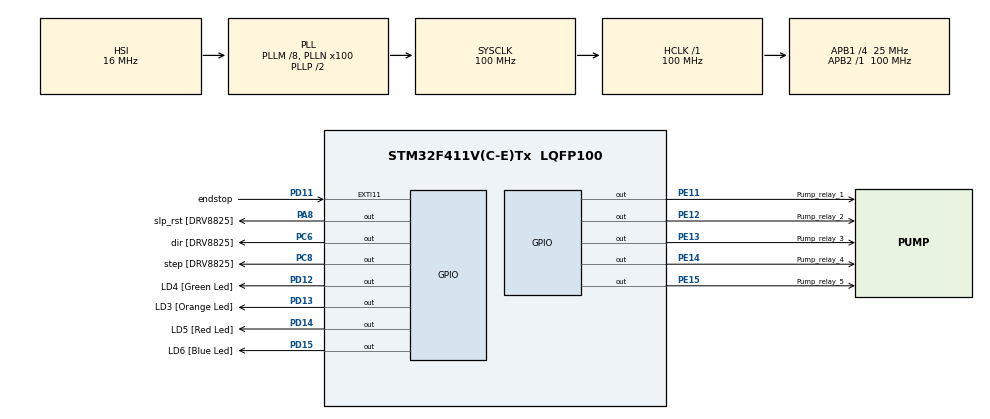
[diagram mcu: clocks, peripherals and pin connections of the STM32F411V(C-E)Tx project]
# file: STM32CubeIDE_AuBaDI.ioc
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Mcu.Family=STM32F4
Mcu.Name=STM32F411V(C-E)Tx
Mcu.Package=LQFP100
Mcu.UserConstants=TIM4_PRESCALER,999;TIM4_PERIOD,99
NVIC.EXTI15_10_IRQn=true\:0\:0\:false\:false\:true\:true\:true
NVIC.PriorityGroup=NVIC_PRIORITYGROUP_0
NVIC.TIM4_IRQn=true\:0\:0\:false\:false\:true\:true\:true
PA8.GPIO_Label=slp_rst [DRV8825]
PA8.Signal=GPIO_Output
PC14-OSC32_IN.GPIO_Label=PC14-OSC32_IN
PC14-OSC32_IN.Mode=LSE-External-Oscillator
PC14-OSC32_IN.Signal=RCC_OSC32_IN
PC15-OSC32_OUT.GPIO_Label=PC15-OSC32_OUT
PC15-OSC32_OUT.Mode=LSE-External-Oscillator
PC15-OSC32_OUT.Signal=RCC_OSC32_OUT
PC6.GPIO_Label=dir [DRV8825]
PC6.Signal=GPIO_Output
PC8.GPIO_Label=step [DRV8825]
PC8.Signal=GPIO_Output
PD11.GPIO_Label=endstop
PD11.GPIO_ModeDefaultEXTI=GPIO_MODE_IT_RISING
PD11.GPIO_PuPd=GPIO_PULLDOWN
PD11.Signal=GPXTI11
PD12.GPIO_Label=LD4 [Green Led]
PD12.GPIO_PuPd=GPIO_NOPULL
PD12.GPIO_Speed=GPIO_SPEED_FREQ_LOW
PD12.Signal=GPIO_Output
PD13.GPIO_Label=LD3 [Orange Led]
PD13.GPIO_PuPd=GPIO_NOPULL
PD13.GPIO_Speed=GPIO_SPEED_FREQ_LOW
PD13.Signal=GPIO_Output
PD14.GPIO_Label=LD5 [Red Led]
PD14.GPIO_PuPd=GPIO_NOPULL
PD14.GPIO_Speed=GPIO_SPEED_FREQ_LOW
PD14.Signal=GPIO_Output
PD15.GPIO_Label=LD6 [Blue Led]
PD15.GPIO_PuPd=GPIO_NOPULL
PD15.GPIO_Speed=GPIO_SPEED_FREQ_LOW
PD15.Signal=GPIO_Output
PE11.GPIO_Label=Pump_relay_1
PE11.Signal=GPIO_Output
PE12.GPIO_Label=Pump_relay_2
PE12.Signal=GPIO_Output
PE13.GPIO_Label=Pump_relay_3
PE13.Signal=GPIO_Output
PE14.GPIO_Label=Pump_relay_4
PE14.Signal=GPIO_Output
PE15.GPIO_Label=Pump_relay_5
PE15.Signal=GPIO_Output
PH0\ -\ OSC_IN.GPIO_Label=PH0-OSC_IN
PH0\ -\ OSC_IN.Mode=HSE-External-Clock-Source
PH0\ -\ OSC_IN.Signal=RCC_OSC_IN
PH1\ -\ OSC_OUT.GPIO_Label=PH1-OSC_OUT
PH1\ -\ OSC_OUT.Mode=HSE-External-Clock-Source
PH1\ -\ OSC_OUT.Signal=RCC_OSC_OUT
ProjectManager.HeapSize=0x200
ProjectManager.StackSize=0x400
ProjectManager.TargetToolchain=STM32CubeIDE
RCC.48MHZClocksFreq_Value=50000000
RCC.AHBFreq_Value=100000000
RCC.APB1CLKDivider=RCC_HCLK_DIV4
RCC.APB1Freq_Value=25000000
RCC.APB1TimFreq_Value=50000000
RCC.APB2Freq_Value=100000000
RCC.APB2TimFreq_Value=100000000
RCC.CortexFreq_Value=100000000
RCC.HCLKFreq_Value=100000000
RCC.HSE_VALUE=8000000
RCC.HSI_VALUE=16000000
RCC.PLLI2SM=5
RCC.PLLI2SN=200
RCC.PLLM=8
RCC.PLLN=100
RCC.SYSCLKFreq_VALUE=100000000
RCC.SYSCLKSource=RCC_SYSCLKSOURCE_PLLCLK
RCC.VCOOutputFreq_Value=200000000
TIM4.Period=TIM4_PERIOD
TIM4.Prescaler=TIM4_PRESCALER
VP_TIM4_VS_ClockSourceINT.Mode=Internal
board=STM32F411E-DISCO

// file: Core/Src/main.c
/* USER CODE BEGIN Header */
/**
 ******************************************************************************
 * @file           : main.c
 * @brief          : Main program body
 ******************************************************************************
 * @attention
 *
 * <h2><center>&copy; Copyright (c) 2020 STMicroelectronics.
 * All rights reserved.</center></h2>
 *
 * This software component is licensed by ST under Ultimate Liberty license
 * SLA0044, the "License"; You may not use this file except in compliance with
 * the License. You may obtain a copy of the License at:
 *                             www.st.com/SLA0044
 *
 ******************************************************************************
 */
/* USER CODE END Header */

#include "main.h"

/* USER CODE BEGIN Includes */
#include<stdio.h>
#include<stdlib.h>
/* USER CODE END Includes */

/* USER CODE BEGIN PD */
#define STEPS 1970
/* USER CODE END PD */

TIM_HandleTypeDef htim4;

/* USER CODE BEGIN PV */
volatile int flag_endofroad = 0;
volatile int flag_busy = 0;
volatile int last_position = 0;
volatile int step = 2;
/* USER CODE END PV */

void SystemClock_Config(void);
static void MX_GPIO_Init(void);
static void MX_TIM4_Init(void);
/* USER CODE BEGIN PFP */
void HAL_TIM_PeriodElapsedCallback(TIM_HandleTypeDef *htim) {
	if (htim == &htim4) {
		HAL_GPIO_TogglePin(step_GPIO_Port, step_Pin);
		HAL_GPIO_TogglePin(LD3_GPIO_Port, LD3_Pin);
		step--;
		flag_busy = 1;
		if (step == 0) {
			HAL_TIM_Base_Stop_IT(&htim4);
			flag_busy = 0;
		}
	}

}

void wake(int flag) {
	if (flag == 1) {
		HAL_GPIO_WritePin(slp_rst_GPIO_Port, slp_rst_Pin, 1);
		HAL_GPIO_WritePin(LD6_GPIO_Port, LD6_Pin, 1);
	} else {
		HAL_GPIO_WritePin(slp_rst_GPIO_Port, slp_rst_Pin, 0);
		HAL_GPIO_WritePin(LD6_GPIO_Port, LD6_Pin, 0);
	}
}

void move(int direction, int steps) {
	step = steps;
	switch (direction) {
	//move right
	case 0:

		HAL_GPIO_WritePin(dir_GPIO_Port, dir_Pin, 0);
		HAL_GPIO_WritePin(LD4_GPIO_Port, LD4_Pin, 0);

		HAL_TIM_Base_Start_IT(&htim4);

		break;
		//move left
	case 1:

		HAL_GPIO_WritePin(dir_GPIO_Port, dir_Pin, 1);
		HAL_GPIO_WritePin(LD4_GPIO_Port, LD4_Pin, 1);

		HAL_TIM_Base_Start_IT(&htim4);

		break;
	}

}

void move_begin() {
	wake(1);
	while (flag_endofroad == 0) {
		move(0, 1);
	}
	flag_endofroad = 0;
	wake(0);
}

void setPosition(int position) {
	int target;
	flag_endofroad = 0;

	if (position == 0) {
		if (last_position != 0) {
			move_begin();
		}
	} else {

		if (last_position > position) {
			target = STEPS / 2 * abs((position - last_position));
			move(0, target);
		} else {
			target = STEPS / 2 * abs((last_position - position));
			move(1, target);
		}
	}
	last_position = position;

}

void HAL_GPIO_EXTI_Callback(uint16_t GPIO_Pin) {
	if (GPIO_Pin == endstop_Pin)
		flag_endofroad = 1;
	else
		flag_endofroad = 0;
}

void mix(int number) {
	wake(1);
	for (int i = 0; i < number; i++) {
		move(0, 30);
		HAL_Delay(50);
		move(1, 30);
		HAL_Delay(50);
	}
	wake(0);
}

/* USER CODE END PFP */

int main(void)
{

  /* MCU Configuration--------------------------------------------------------*/

  /* Reset of all peripherals, Initializes the Flash interface and the Systick. */
  HAL_Init();

  /* Configure the system clock */
  SystemClock_Config();

  /* Initialize all configured peripherals */
  MX_GPIO_Init();
  MX_TIM4_Init();

  /* Infinite loop */
  /* USER CODE BEGIN WHILE */
	move_begin();
	wake(1);
	setPosition(3);

	//move(1,1000);
	//move(0,1000);

	while (1) {

    /* USER CODE END WHILE */

	}
}

void SystemClock_Config(void)
{
  RCC_OscInitTypeDef RCC_OscInitStruct = {0};
  RCC_ClkInitTypeDef RCC_ClkInitStruct = {0};

  /** Configure the main internal regulator output voltage
  */
  __HAL_RCC_PWR_CLK_ENABLE();
  __HAL_PWR_VOLTAGESCALING_CONFIG(PWR_REGULATOR_VOLTAGE_SCALE1);
  /** Initializes the CPU, AHB and APB busses clocks
  */
  RCC_OscInitStruct.OscillatorType = RCC_OSCILLATORTYPE_HSI;
  RCC_OscInitStruct.HSIState = RCC_HSI_ON;
  RCC_OscInitStruct.HSICalibrationValue = RCC_HSICALIBRATION_DEFAULT;
  RCC_OscInitStruct.PLL.PLLState = RCC_PLL_ON;
  RCC_OscInitStruct.PLL.PLLSource = RCC_PLLSOURCE_HSI;
  RCC_OscInitStruct.PLL.PLLM = 8;
  RCC_OscInitStruct.PLL.PLLN = 100;
  RCC_OscInitStruct.PLL.PLLP = RCC_PLLP_DIV2;
  RCC_OscInitStruct.PLL.PLLQ = 4;
  if (HAL_RCC_OscConfig(&RCC_OscInitStruct) != HAL_OK)
  {
    Error_Handler();
  }
  /** Initializes the CPU, AHB and APB busses clocks
  */
  RCC_ClkInitStruct.ClockType = RCC_CLOCKTYPE_HCLK|RCC_CLOCKTYPE_SYSCLK
                              |RCC_CLOCKTYPE_PCLK1|RCC_CLOCKTYPE_PCLK2;
  RCC_ClkInitStruct.SYSCLKSource = RCC_SYSCLKSOURCE_PLLCLK;
  RCC_ClkInitStruct.AHBCLKDivider = RCC_SYSCLK_DIV1;
  RCC_ClkInitStruct.APB1CLKDivider = RCC_HCLK_DIV4;
  RCC_ClkInitStruct.APB2CLKDivider = RCC_HCLK_DIV1;

  if (HAL_RCC_ClockConfig(&RCC_ClkInitStruct, FLASH_LATENCY_3) != HAL_OK)
  {
    Error_Handler();
  }
}

static void MX_TIM4_Init(void)
{

  TIM_ClockConfigTypeDef sClockSourceConfig = {0};
  TIM_MasterConfigTypeDef sMasterConfig = {0};

  htim4.Instance = TIM4;
  htim4.Init.Prescaler = TIM4_PRESCALER;
  htim4.Init.CounterMode = TIM_COUNTERMODE_UP;
  htim4.Init.Period = TIM4_PERIOD;
  htim4.Init.ClockDivision = TIM_CLOCKDIVISION_DIV1;
  htim4.Init.AutoReloadPreload = TIM_AUTORELOAD_PRELOAD_DISABLE;
  if (HAL_TIM_Base_Init(&htim4) != HAL_OK)
  {
    Error_Handler();
  }
  sClockSourceConfig.ClockSource = TIM_CLOCKSOURCE_INTERNAL;
  if (HAL_TIM_ConfigClockSource(&htim4, &sClockSourceConfig) != HAL_OK)
  {
    Error_Handler();
  }
  sMasterConfig.MasterOutputTrigger = TIM_TRGO_RESET;
  sMasterConfig.MasterSlaveMode = TIM_MASTERSLAVEMODE_DISABLE;
  if (HAL_TIMEx_MasterConfigSynchronization(&htim4, &sMasterConfig) != HAL_OK)
  {
    Error_Handler();
  }

}

static void MX_GPIO_Init(void)
{
  GPIO_InitTypeDef GPIO_InitStruct = {0};

  /* GPIO Ports Clock Enable */
  __HAL_RCC_GPIOC_CLK_ENABLE();
  __HAL_RCC_GPIOH_CLK_ENABLE();
  __HAL_RCC_GPIOE_CLK_ENABLE();
  __HAL_RCC_GPIOD_CLK_ENABLE();
  __HAL_RCC_GPIOA_CLK_ENABLE();

  /*Configure GPIO pin Output Level */
  HAL_GPIO_WritePin(GPIOE, Pump_relay_1_Pin|Pump_relay_2_Pin|Pump_relay_3_Pin|Pump_relay_4_Pin
                          |Pump_relay_5_Pin, GPIO_PIN_RESET);

  /*Configure GPIO pin Output Level */
  HAL_GPIO_WritePin(GPIOD, LD4_Pin|LD3_Pin|LD5_Pin|LD6_Pin, GPIO_PIN_RESET);

  /*Configure GPIO pin Output Level */
  HAL_GPIO_WritePin(GPIOC, dir_Pin|step_Pin, GPIO_PIN_RESET);

  /*Configure GPIO pin Output Level */
  HAL_GPIO_WritePin(slp_rst_GPIO_Port, slp_rst_Pin, GPIO_PIN_RESET);

  /*Configure GPIO pins : Pump_relay_1_Pin Pump_relay_2_Pin Pump_relay_3_Pin Pump_relay_4_Pin
                           Pump_relay_5_Pin */
  GPIO_InitStruct.Pin = Pump_relay_1_Pin|Pump_relay_2_Pin|Pump_relay_3_Pin|Pump_relay_4_Pin
                          |Pump_relay_5_Pin;
  GPIO_InitStruct.Mode = GPIO_MODE_OUTPUT_PP;
  GPIO_InitStruct.Pull = GPIO_NOPULL;
  GPIO_InitStruct.Speed = GPIO_SPEED_FREQ_LOW;
  HAL_GPIO_Init(GPIOE, &GPIO_InitStruct);

  /*Configure GPIO pin : endstop_Pin */
  GPIO_InitStruct.Pin = endstop_Pin;
  GPIO_InitStruct.Mode = GPIO_MODE_IT_RISING;
  GPIO_InitStruct.Pull = GPIO_PULLDOWN;
  HAL_GPIO_Init(endstop_GPIO_Port, &GPIO_InitStruct);

  /*Configure GPIO pins : LD4_Pin LD3_Pin LD5_Pin LD6_Pin */
  GPIO_InitStruct.Pin = LD4_Pin|LD3_Pin|LD5_Pin|LD6_Pin;
  GPIO_InitStruct.Mode = GPIO_MODE_OUTPUT_PP;
  GPIO_InitStruct.Pull = GPIO_NOPULL;
  GPIO_InitStruct.Speed = GPIO_SPEED_FREQ_LOW;
  HAL_GPIO_Init(GPIOD, &GPIO_InitStruct);

  /*Configure GPIO pins : dir_Pin step_Pin */
  GPIO_InitStruct.Pin = dir_Pin|step_Pin;
  GPIO_InitStruct.Mode = GPIO_MODE_OUTPUT_PP;
  GPIO_InitStruct.Pull = GPIO_NOPULL;
  GPIO_InitStruct.Speed = GPIO_SPEED_FREQ_LOW;
  HAL_GPIO_Init(GPIOC, &GPIO_InitStruct);

  /*Configure GPIO pin : slp_rst_Pin */
  GPIO_InitStruct.Pin = slp_rst_Pin;
  GPIO_InitStruct.Mode = GPIO_MODE_OUTPUT_PP;
  GPIO_InitStruct.Pull = GPIO_NOPULL;
  GPIO_InitStruct.Speed = GPIO_SPEED_FREQ_LOW;
  HAL_GPIO_Init(slp_rst_GPIO_Port, &GPIO_InitStruct);

  /* EXTI interrupt init*/
  HAL_NVIC_SetPriority(EXTI15_10_IRQn, 0, 0);
  HAL_NVIC_EnableIRQ(EXTI15_10_IRQn);

}

void Error_Handler(void)
{
}

/************************ (C) COPYRIGHT STMicroelectronics *****END OF FILE****/
